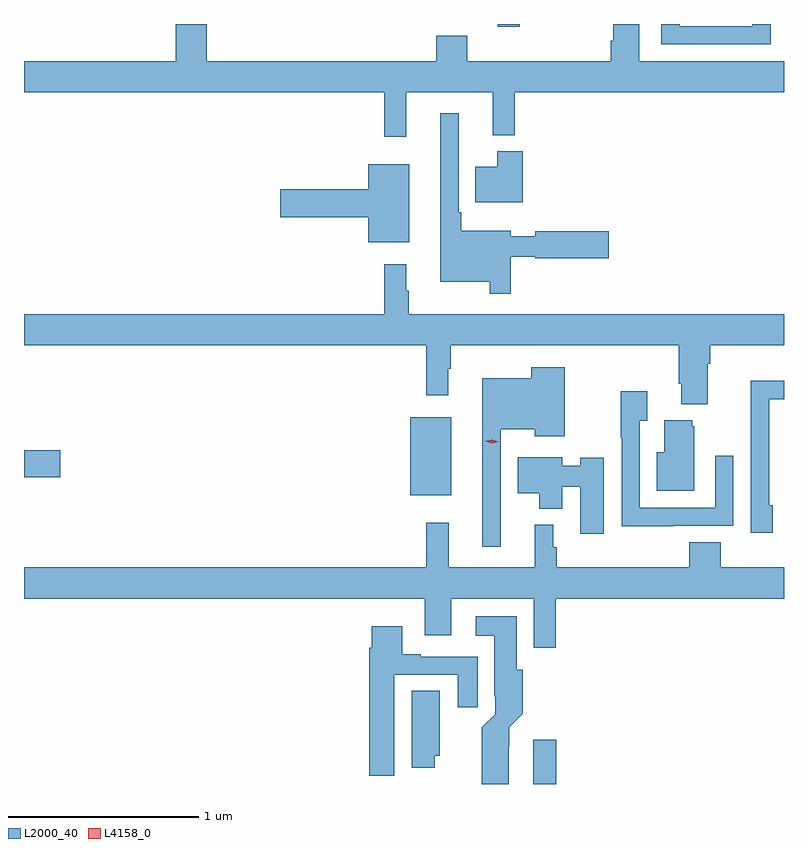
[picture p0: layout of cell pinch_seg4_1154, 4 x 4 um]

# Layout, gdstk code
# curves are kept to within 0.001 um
import gdstk
lib = gdstk.Library(unit=1e-6, precision=1e-09)
def R(c, l, rs):  # rectangles x0, y0, x1, y1
    for r in rs: c.add(gdstk.rectangle(r[:2], r[2:], *l))
def P(c, l, *ps):  # polygons
    for p in ps: c.add(gdstk.Polygon(p, *l))
L2000_40 = (2000, 40)
L4158_0 = (4158, 0)

pinch_seg4_1154 = lib.new_cell('pinch_seg4_1154')
R(pinch_seg4_1154, L2000_40, [(434.843,749.224,434.966,749.458), (434.198,750.743,434.413,751.153), (432.164,750.838,432.355,750.98), (434.658,753.21,434.773,753.224)])
P(pinch_seg4_1154, L2000_40, [(434.498,753.161),(434.333,753.161),(434.333,753.028),(433.126,753.028),(433.126,753.224),(432.962,753.224),(432.962,753.028),(432.164,753.028),(432.164,752.864),(434.059,752.864),(434.059,752.631),(434.177,752.631),(434.177,752.864),(434.63,752.864),(434.63,752.639),(434.747,752.639),(434.747,752.864),(436.164,752.864),(436.164,753.028),(435.403,753.028),(435.403,753.224),(435.264,753.224),(435.264,753.137),(435.251,753.137),(435.251,753.028),(434.498,753.028)],
  [(436.093,753.224),(435.996,753.224),(435.996,753.213),(435.615,753.213),(435.615,753.224),(435.519,753.224),(435.519,753.117),(436.093,753.117)],
  [(434.725,751.998),(434.856,751.998),(434.856,751.99),(435.241,751.99),(435.241,752.132),(434.856,752.132),(434.856,752.107),(434.725,752.107),(434.725,752.137),(434.464,752.137),(434.464,752.233),(434.451,752.233),(434.451,752.755),(434.354,752.755),(434.354,751.868),(434.616,751.868),(434.616,751.803),(434.725,751.803)],
  [(434.789,752.554),(434.654,752.554),(434.654,752.473),(434.54,752.473),(434.54,752.285),(434.789,752.285)],
  [(434.191,752.485),(433.976,752.485),(433.976,752.354),(433.512,752.354),(433.512,752.207),(433.976,752.207),(433.976,752.075),(434.191,752.075)],
  [(435.763,751.436),(435.776,751.436),(435.776,751.532),(436.164,751.532),(436.164,751.696),(434.188,751.696),(434.188,751.82),(434.176,751.82),(434.176,751.96),(434.059,751.96),(434.059,751.696),(432.164,751.696),(432.164,751.532),(434.281,751.532),(434.281,751.269),(434.398,751.269),(434.398,751.409),(434.41,751.409),(434.41,751.532),(435.611,751.532),(435.611,751.33),(435.623,751.33),(435.623,751.223),(435.763,751.223)],
  [(434.673,751.091),(434.852,751.091),(434.852,751.055),(435.01,751.055),(435.01,751.417),(434.835,751.417),(434.835,751.36),(434.576,751.36),(434.576,750.474),(434.673,750.474)],
  [(436.105,750.69),(436.086,750.69),(436.086,751.027),(436.087,751.027),(436.087,751.248),(436.164,751.248),(436.164,751.346),(435.988,751.346),(435.988,751.039),(435.99,751.039),(435.99,750.546),(436.105,750.546)],
  [(435.581,750.582),(435.897,750.582),(435.897,750.952),(435.801,750.952),(435.801,750.678),(435.405,750.678),(435.405,751.135),(435.445,751.135),(435.445,751.291),(435.304,751.291),(435.304,751.046),(435.309,751.046),(435.309,750.581),(435.581,750.581)],
  [(435.691,751.107),(435.68,751.107),(435.68,751.138),(435.533,751.138),(435.533,750.97),(435.494,750.97),(435.494,750.767),(435.691,750.767)],
  [(435.214,750.941),(435.092,750.941),(435.092,750.898),(434.998,750.898),(434.998,750.943),(434.762,750.943),(434.762,750.755),(434.876,750.755),(434.876,750.674),(434.998,750.674),(434.998,750.789),(435.092,750.789),(435.092,750.54),(435.214,750.54)],
  [(434.963,750.2),(436.164,750.2),(436.164,750.364),(435.83,750.364),(435.83,750.497),(435.665,750.497),(435.665,750.364),(434.969,750.364),(434.969,750.471),(434.95,750.471),(434.95,750.589),(434.852,750.589),(434.852,750.364),(434.399,750.364),(434.399,750.598),(434.281,750.598),(434.281,750.364),(432.164,750.364),(432.164,750.2),(434.273,750.2),(434.273,750.006),(434.413,750.006),(434.413,750.2),(434.847,750.2),(434.847,749.94),(434.963,749.94)],
  [(434.716,749.423),(434.717,749.522),(434.789,749.594),(434.789,749.826),(434.758,749.826),(434.758,750.106),(434.541,750.106),(434.541,750.005),(434.639,750.005),(434.639,749.686),(434.643,749.686),(434.643,749.592),(434.573,749.522),(434.574,749.224),(434.716,749.224)],
  [(434.113,749.799),(434.447,749.799),(434.447,749.628),(434.551,749.628),(434.551,749.895),(434.251,749.895),(434.251,749.908),(434.155,749.908),(434.155,750.055),(433.994,750.055),(433.994,749.942),(433.982,749.942),(433.982,749.268),(434.113,749.268)],
  [(434.326,749.373),(434.353,749.373),(434.353,749.714),(434.204,749.714),(434.204,749.309),(434.326,749.309)])
P(pinch_seg4_1154, L4158_0, [(434.627,751.017),(434.591,751.028),(434.591,751.028),(434.591,751.028),(434.627,751.037),(434.663,751.026),(434.663,751.026),(434.663,751.025)])

lib.write_gds('pinch_seg4_1154.gds')
